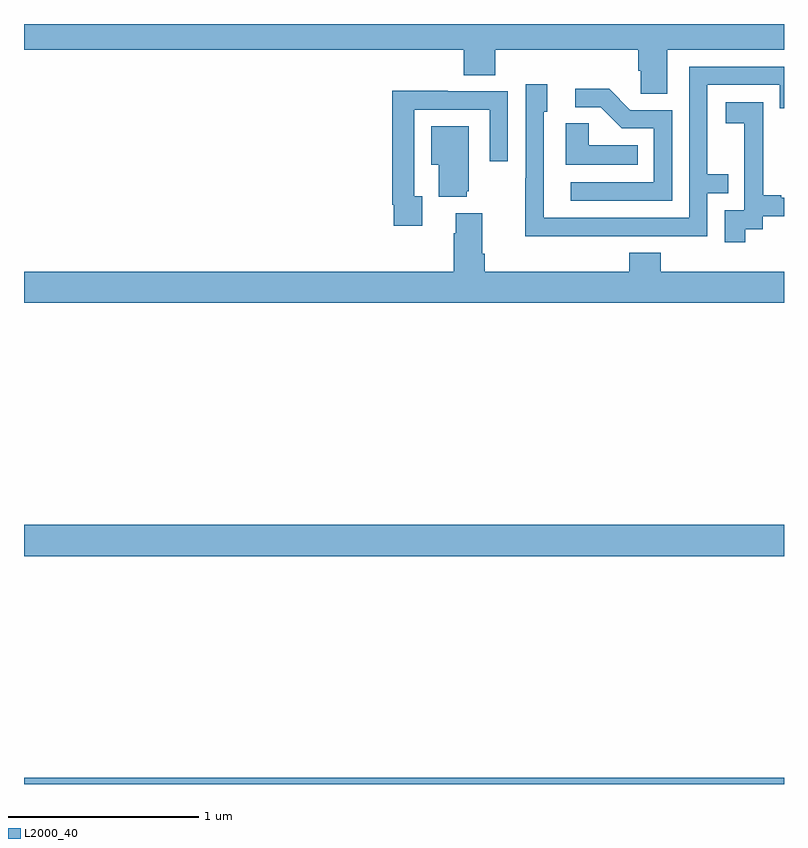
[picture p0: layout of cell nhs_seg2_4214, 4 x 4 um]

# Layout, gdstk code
import gdstk
lib = gdstk.Library(unit=1e-6, precision=1e-09)
def R(c, l, rs):  # rectangles x0, y0, x1, y1
    for r in rs: c.add(gdstk.rectangle(r[:2], r[2:], *l))
def P(c, l, *ps):  # polygons
    for p in ps: c.add(gdstk.Polygon(p, *l))
L2000_40 = (2000, 40)

nhs_seg2_4214 = lib.new_cell('nhs_seg2_4214')
R(nhs_seg2_4214, L2000_40, [(339,615.8,343,615.832), (339,617,343,617.164)])
P(nhs_seg2_4214, L2000_40, [(342.385,619.664),(343,619.664),(343,619.8),(339,619.8),(339,619.664),(341.315,619.664),(341.315,619.531),(341.48,619.531),(341.48,619.664),(342.233,619.664),(342.233,619.555),(342.246,619.555),(342.246,619.432),(342.385,619.432)],
  [(342.101,618.684),(342.597,618.684),(342.597,618.909),(342.707,618.909),(342.707,619.01),(342.597,619.01),(342.597,619.479),(342.978,619.479),(342.978,619.356),(343,619.356),(343,619.575),(342.501,619.575),(342.501,618.78),(341.736,618.78),(341.736,619.338),(341.755,619.338),(341.755,619.483),(341.64,619.483),(341.64,618.989),(341.638,618.989),(341.638,618.683),(342.101,618.683)],
  [(342.411,619.347),(342.192,619.347),(342.079,619.46),(341.901,619.46),(341.901,619.362),(342.035,619.362),(342.146,619.251),(342.315,619.251),(342.315,618.966),(341.877,618.966),(341.877,618.87),(342.411,618.87)],
  [(341.095,618.894),(341.055,618.894),(341.055,619.35),(341.451,619.35),(341.451,619.077),(341.547,619.077),(341.547,619.446),(341.231,619.446),(341.231,619.448),(340.939,619.448),(340.939,618.85),(340.947,618.85),(340.947,618.738),(341.095,618.738)],
  [(342.796,618.721),(342.888,618.721),(342.888,618.789),(343,618.789),(343,618.885),(342.985,618.885),(342.985,618.898),(342.89,618.898),(342.89,619.181),(342.891,619.181),(342.891,619.387),(342.693,619.387),(342.693,619.277),(342.791,619.277),(342.791,619.049),(342.792,619.049),(342.792,618.819),(342.687,618.819),(342.687,618.651),(342.796,618.651)],
  [(342.23,619.162),(341.973,619.162),(341.973,619.277),(341.852,619.277),(341.852,619.058),(342.23,619.058)],
  [(341.33,618.921),(341.341,618.921),(341.341,619.261),(341.144,619.261),(341.144,619.058),(341.183,619.058),(341.183,618.89),(341.33,618.89)],
  [(343,618.496),(342.35,618.496),(342.35,618.595),(342.185,618.595),(342.185,618.496),(341.426,618.496),(341.426,618.592),(341.413,618.592),(341.413,618.805),(341.273,618.805),(341.273,618.698),(341.261,618.698),(341.261,618.496),(339,618.496),(339,618.332),(343,618.332)])

lib.write_gds('nhs_seg2_4214.gds')
